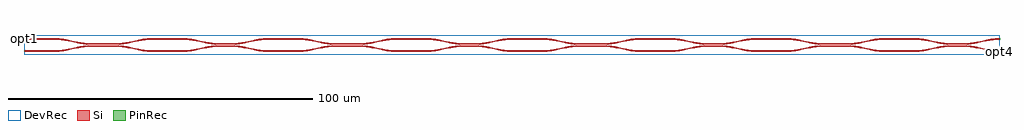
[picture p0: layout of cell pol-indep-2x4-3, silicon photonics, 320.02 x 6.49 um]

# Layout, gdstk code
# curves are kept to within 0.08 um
import gdstk
lib = gdstk.Library(unit=1e-6, precision=1e-09)
def R(c, l, rs):  # rectangles x0, y0, x1, y1
    for r in rs: c.add(gdstk.rectangle(r[:2], r[2:], *l))
def P(c, l, *ps):  # polygons
    for p in ps: c.add(gdstk.Polygon(p, *l))
Si = (1, 0)
PinRec = (1, 10)
DevRec = (68, 0)

layer_0_0_phase_sec_0_2_ = lib.new_cell('layer-0_0_phase_sec_0$2$2')
P(layer_0_0_phase_sec_0_2_, Si, [(0,-0.225),(0,0.225),(1.616,0.223),(6.462,0.223),(9.694,0.225),(10,0.225),(10,-0.225),(9.694,-0.225),(6.462,-0.223),(1.616,-0.223)])

layer_0_0_phase_sec_1_2_ = lib.new_cell('layer-0_0_phase_sec_1$2$2')
P(layer_0_0_phase_sec_1_2_, Si, [(0,-0.225),(0,0.225),(1.614,0.224),(3.229,0.223),(6.458,0.223),(9.686,0.225),(10,0.225),(10,-0.225),(9.686,-0.225),(6.458,-0.223),(3.229,-0.223),(1.614,-0.224)])

dc_arm_up_8_2_2 = lib.new_cell('dc_arm_up_8$2$2')
R(dc_arm_up_8_2_2, Si, [(12,0.1,20,0.55)])
P(dc_arm_up_8_2_2, Si, [(20,0.1),(20,0.55),(21.481,0.613),(22.966,0.793),(29.344,2.033),(30.861,2.188),(32,2.225),(32,1.775),(30.519,1.712),(29.034,1.532),(22.656,0.292),(21.139,0.137)],
  [(12,0.1),(10.861,0.137),(9.344,0.292),(2.966,1.532),(1.481,1.712),(0,1.775),(0,2.225),(1.139,2.188),(2.656,2.033),(9.034,0.793),(10.519,0.613),(12,0.55)])

dc_arm_down_8_2_2 = lib.new_cell('dc_arm_down_8$2$2')
R(dc_arm_down_8_2_2, Si, [(12,-0.55,20,-0.1)])
P(dc_arm_down_8_2_2, Si, [(32,-2.225),(30.861,-2.188),(29.344,-2.033),(22.966,-0.793),(21.481,-0.613),(20,-0.55),(20,-0.1),(21.139,-0.137),(22.656,-0.292),(29.034,-1.532),(30.519,-1.712),(32,-1.775)],
  [(0,-2.225),(0,-1.775),(1.481,-1.712),(2.966,-1.532),(9.344,-0.292),(10.861,-0.137),(12,-0.1),(12,-0.55),(10.519,-0.613),(9.034,-0.793),(2.656,-2.033),(1.139,-2.188)])

dc_8_2_2 = lib.new_cell('dc_8$2$2')
dc_8_2_2.add(gdstk.Reference(dc_arm_up_8_2_2, (0,0)))
dc_8_2_2.add(gdstk.Reference(dc_arm_down_8_2_2, (0,0)))

layer_0_0_phase_sec_2_2_ = lib.new_cell('layer-0_0_phase_sec_2$2$2')
P(layer_0_0_phase_sec_2_2_, Si, [(3.239,-0.251),(0,-0.225),(0,0.225),(10,0.225),(10,-0.225)])

layer_0_0_phase_sec_3_2_ = lib.new_cell('layer-0_0_phase_sec_3$2$2')
P(layer_0_0_phase_sec_3_2_, Si, [(0,-0.225),(0,0.225),(10,0.225),(10,-0.225)])

layer_2_0_phase_sec_0_2_ = lib.new_cell('layer-2_0_phase_sec_0$2$2')
P(layer_2_0_phase_sec_0_2_, Si, [(4.901,-0.252),(0,-0.225),(0,0.225),(10,0.225),(10,-0.225)])

layer_2_0_phase_sec_1_2_ = lib.new_cell('layer-2_0_phase_sec_1$2$2')
P(layer_2_0_phase_sec_1_2_, Si, [(0,-0.225),(0,0.225),(1.612,0.219),(3.224,0.22),(8.059,0.22),(9.671,0.225),(10,0.225),(10,-0.225),(9.671,-0.225),(8.059,-0.22),(3.224,-0.22),(1.612,-0.219)])

layer_2_0_phase_sec_2_2_ = lib.new_cell('layer-2_0_phase_sec_2$2$2')
P(layer_2_0_phase_sec_2_2_, Si, [(6.44,-0.227),(0,-0.225),(0,0.225),(10,0.225),(10,-0.225)])

layer_2_0_phase_sec_3_2_ = lib.new_cell('layer-2_0_phase_sec_3$2$2')
P(layer_2_0_phase_sec_3_2_, Si, [(1.614,-0.233),(0,-0.225),(0,0.225),(10,0.225),(10,-0.225)])

layer_3_0_phase_sec_0_2_ = lib.new_cell('layer-3_0_phase_sec_0$2$2')
P(layer_3_0_phase_sec_0_2_, Si, [(6.452,-0.234),(0,-0.225),(0,0.225),(10,0.225),(10,-0.225)])

layer_1_0_phase_sec_1_2_ = lib.new_cell('layer-1_0_phase_sec_1$2$2')
P(layer_1_0_phase_sec_1_2_, Si, [(4.849,-0.241),(0,-0.225),(0,0.225),(10,0.225),(10,-0.225)])

dc_arm_up_4_2_2 = lib.new_cell('dc_arm_up_4$2$2')
R(dc_arm_up_4_2_2, Si, [(12,0.1,16,0.55)])
P(dc_arm_up_4_2_2, Si, [(16,0.1),(16,0.55),(17.481,0.613),(18.966,0.793),(25.344,2.033),(26.861,2.188),(28,2.225),(28,1.775),(26.519,1.712),(25.034,1.532),(18.656,0.292),(17.139,0.137)],
  [(12,0.1),(10.861,0.137),(9.344,0.292),(2.966,1.532),(1.481,1.712),(0,1.775),(0,2.225),(1.139,2.188),(2.656,2.033),(9.034,0.793),(10.519,0.613),(12,0.55)])

dc_arm_down_4_2_2 = lib.new_cell('dc_arm_down_4$2$2')
R(dc_arm_down_4_2_2, Si, [(12,-0.55,16,-0.1)])
P(dc_arm_down_4_2_2, Si, [(28,-2.225),(26.861,-2.188),(25.344,-2.033),(18.966,-0.793),(17.481,-0.613),(16,-0.55),(16,-0.1),(17.139,-0.137),(18.656,-0.292),(25.034,-1.532),(26.519,-1.712),(28,-1.775)],
  [(0,-2.225),(0,-1.775),(1.481,-1.712),(2.966,-1.532),(9.344,-0.292),(10.861,-0.137),(12,-0.1),(12,-0.55),(10.519,-0.613),(9.034,-0.793),(2.656,-2.033),(1.139,-2.188)])

dc_4_2_2 = lib.new_cell('dc_4$2$2')
dc_4_2_2.add(gdstk.Reference(dc_arm_up_4_2_2, (0,0)))
dc_4_2_2.add(gdstk.Reference(dc_arm_down_4_2_2, (0,0)))

layer_3_0_phase_sec_1_2_ = lib.new_cell('layer-3_0_phase_sec_1$2$2')
P(layer_3_0_phase_sec_1_2_, Si, [(4.842,-0.227),(0,-0.225),(0,0.225),(10,0.225),(10,-0.225)])

layer_1_0_phase_sec_2_2_ = lib.new_cell('layer-1_0_phase_sec_2$2$2')
P(layer_1_0_phase_sec_2_2_, Si, [(0,-0.225),(0,0.225),(10,0.225),(10,-0.225)])

layer_1_0_phase_sec_0_2_ = lib.new_cell('layer-1_0_phase_sec_0$2$2')
P(layer_1_0_phase_sec_0_2_, Si, [(0,-0.225),(0,0.225),(10,0.225),(10,-0.225)])

layer_3_0_phase_sec_2_2_ = lib.new_cell('layer-3_0_phase_sec_2$2$2')
P(layer_3_0_phase_sec_2_2_, Si, [(3.239,-0.252),(0,-0.225),(0,0.225),(10,0.225),(10,-0.225)])

layer_1_0_phase_sec_3_2_ = lib.new_cell('layer-1_0_phase_sec_3$2$2')
P(layer_1_0_phase_sec_3_2_, Si, [(3.231,-0.237),(0,-0.225),(0,0.225),(10,0.225),(10,-0.225)])

layer_3_0_phase_sec_3_2_ = lib.new_cell('layer-3_0_phase_sec_3$2$2')
P(layer_3_0_phase_sec_3_2_, Si, [(0,-0.225),(0,0.225),(10,0.225),(10,-0.225)])

pol_indep_2x4_3 = lib.new_cell('pol-indep-2x4-3')
R(pol_indep_2x4_3, DevRec, [(0,-1,320,5.493)])
pol_indep_2x4_3.add(gdstk.FlexPath([(319.99,0.241),(320.01,0.241)], 0.45, ends="flush", simple_path=True, layer=1, datatype=10))  # PinRec
pol_indep_2x4_3.add(gdstk.FlexPath([(319.99,4.241),(320.01,4.241)], 0.45, ends="flush", simple_path=True, layer=1, datatype=10))  # PinRec
pol_indep_2x4_3.add(gdstk.FlexPath([(0.01,0.241),(-0.01,0.241)], 0.45, ends="flush", simple_path=True, layer=1, datatype=10))  # PinRec
pol_indep_2x4_3.add(gdstk.FlexPath([(0.01,4.241),(-0.01,4.241)], 0.45, ends="flush", simple_path=True, layer=1, datatype=10))  # PinRec
pol_indep_2x4_3.add(gdstk.Reference(layer_0_0_phase_sec_0_2_, (0,4.241)))
pol_indep_2x4_3.add(gdstk.Reference(layer_0_0_phase_sec_1_2_, (0,0.241)))
pol_indep_2x4_3.add(gdstk.Reference(dc_8_2_2, (10,2.241)))
pol_indep_2x4_3.add(gdstk.Reference(dc_8_2_2, (90,2.241)))
pol_indep_2x4_3.add(gdstk.Reference(dc_8_2_2, (170,2.241)))
pol_indep_2x4_3.add(gdstk.Reference(dc_8_2_2, (250,2.241)))
pol_indep_2x4_3.add(gdstk.Reference(layer_0_0_phase_sec_2_2_, (42,4.241)))
pol_indep_2x4_3.add(gdstk.Reference(layer_0_0_phase_sec_3_2_, (42,0.241)))
pol_indep_2x4_3.add(gdstk.Reference(layer_2_0_phase_sec_0_2_, (160,4.241)))
pol_indep_2x4_3.add(gdstk.Reference(layer_2_0_phase_sec_1_2_, (160,0.241)))
pol_indep_2x4_3.add(gdstk.Reference(layer_2_0_phase_sec_2_2_, (202,4.241)))
pol_indep_2x4_3.add(gdstk.Reference(layer_2_0_phase_sec_3_2_, (202,0.241)))
pol_indep_2x4_3.add(gdstk.Reference(layer_3_0_phase_sec_0_2_, (240,4.241)))
pol_indep_2x4_3.add(gdstk.Reference(layer_1_0_phase_sec_1_2_, (80,0.241)))
pol_indep_2x4_3.add(gdstk.Reference(dc_4_2_2, (52,2.241)))
pol_indep_2x4_3.add(gdstk.Reference(dc_4_2_2, (132,2.241)))
pol_indep_2x4_3.add(gdstk.Reference(dc_4_2_2, (212,2.241)))
pol_indep_2x4_3.add(gdstk.Reference(dc_4_2_2, (292,2.241)))
pol_indep_2x4_3.add(gdstk.Reference(layer_3_0_phase_sec_1_2_, (240,0.241)))
pol_indep_2x4_3.add(gdstk.Reference(layer_1_0_phase_sec_2_2_, (122,4.241)))
pol_indep_2x4_3.add(gdstk.Reference(layer_1_0_phase_sec_0_2_, (80,4.241)))
pol_indep_2x4_3.add(gdstk.Reference(layer_3_0_phase_sec_2_2_, (282,4.241)))
pol_indep_2x4_3.add(gdstk.Reference(layer_1_0_phase_sec_3_2_, (122,0.241)))
pol_indep_2x4_3.add(gdstk.Reference(layer_3_0_phase_sec_3_2_, (282,0.241)))
pol_indep_2x4_3.add(gdstk.Label('opt4', (320,0.241), layer=1, texttype=10))
pol_indep_2x4_3.add(gdstk.Label('opt3', (320,4.241), layer=1, texttype=10))
pol_indep_2x4_3.add(gdstk.Label('opt1', (0,4.241), layer=1, texttype=10))
pol_indep_2x4_3.add(gdstk.Label('opt2', (0,0.241), layer=1, texttype=10))

lib.write_gds('pol-indep-2x4-3.gds')
